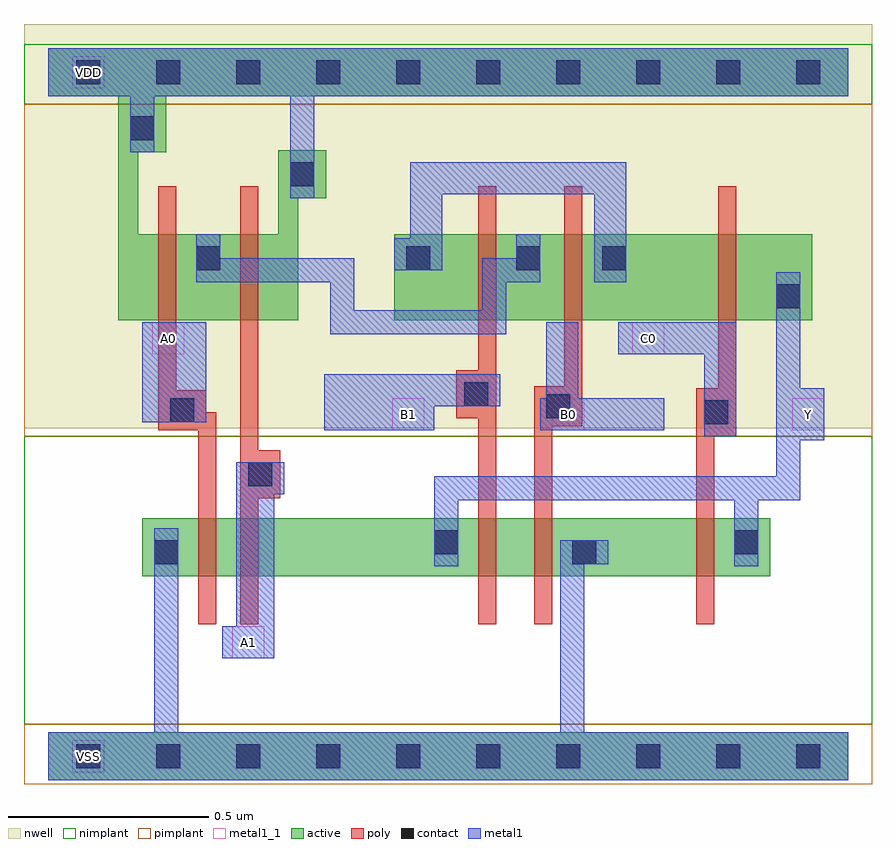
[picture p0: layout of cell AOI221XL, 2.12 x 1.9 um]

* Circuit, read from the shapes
.subckt AOI221XL A0 A1 B0 B1 C0 VDD VSS Y
M1 n1 A0 VSS VSS nfet w=0.145u l=0.045u
M2 Y A1 n1 VSS nfet w=0.145u l=0.045u
M3 n2 B1 Y VSS nfet w=0.145u l=0.045u
M4 VSS B0 n2 VSS nfet w=0.145u l=0.045u
M5 Y C0 VSS VSS nfet w=0.145u l=0.045u
M6 n3 A0 VDD VDD pfet w=0.215u l=0.045u
M7 VDD A1 n3 VDD pfet w=0.215u l=0.045u
M8 n3 B1 n4 VDD pfet w=0.215u l=0.045u
M9 n4 B0 n3 VDD pfet w=0.215u l=0.045u
M10 Y C0 n4 VDD pfet w=0.215u l=0.045u
.ends

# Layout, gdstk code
import gdstk
lib = gdstk.Library(unit=1e-6, precision=5e-10)
def R(c, l, rs):  # rectangles x0, y0, x1, y1
    for r in rs: c.add(gdstk.rectangle(r[:2], r[2:], *l))
def A(c, l, x, y, w, h, nx, ny, dx, dy):  # array of equal rectangles
    R(c, l, [(x+i*dx, y+j*dy, x+i*dx+w, y+j*dy+h) for i in range(nx) for j in range(ny)])
def P(c, l, *ps):  # polygons
    for p in ps: c.add(gdstk.Polygon(p, *l))
active = (1, 0)
nwell = (2, 0)
poly = (3, 0)
nimplant = (4, 0)
pimplant = (5, 0)
contact = (6, 0)
metal1 = (7, 0)
metal1_1 = (7, 1)

aoi221xl = lib.new_cell('AOI221XL')
R(aoi221xl, active, [(0,-0.06,2,0.06), (0.235,0.45,1.805,0.595), (0.865,1.09,1.91,1.305)])
P(aoi221xl, active, [(0,1.77),(2,1.77),(2,1.65),(0.295,1.65),(0.295,1.51),(0.225,1.51),(0.225,1.305),(0.575,1.305),(0.575,1.515),(0.695,1.515),(0.695,1.395),(0.625,1.395),(0.625,1.09),(0.175,1.09),(0.175,1.65),(0,1.65)])
R(aoi221xl, nwell, [(-0.06,0.82,2.06,1.83)])
P(aoi221xl, poly, [(0.275,1.425),(0.32,1.425),(0.32,0.915),(0.395,0.915),(0.395,0.86),(0.42,0.86),(0.42,0.33),(0.375,0.33),(0.375,0.815),(0.275,0.815)],
  [(0.48,1.425),(0.525,1.425),(0.525,0.765),(0.58,0.765),(0.58,0.645),(0.525,0.645),(0.525,0.33),(0.48,0.33)],
  [(1.075,1.425),(1.12,1.425),(1.12,0.33),(1.075,0.33),(1.075,0.845),(1.02,0.845),(1.02,0.965),(1.075,0.965)],
  [(1.29,1.425),(1.335,1.425),(1.335,0.825),(1.26,0.825),(1.26,0.33),(1.215,0.33),(1.215,0.925),(1.29,0.925)],
  [(1.675,1.425),(1.72,1.425),(1.72,0.8),(1.665,0.8),(1.665,0.33),(1.62,0.33),(1.62,0.92),(1.675,0.92)])
R(aoi221xl, nimplant, [(-0.06,0.08,2.06,0.8), (-0.06,1.63,2.06,1.78)])
R(aoi221xl, pimplant, [(-0.06,-0.07,2.06,0.08), (-0.06,0.8,2.06,1.63)])
A(aoi221xl, contact, 0.07, -0.03, 0.06, 0.06, 10, 2, 0.2, 1.71)
R(aoi221xl, contact, [(0.265,0.48,0.325,0.54), (1.31,0.48,1.37,0.54), (0.965,0.505,1.025,0.565), (1.715,0.505,1.775,0.565), (0.5,0.675,0.56,0.735), (1.64,0.83,1.7,0.89), (0.305,0.835,0.365,0.895), (1.245,0.845,1.305,0.905), (1.04,0.875,1.1,0.935), (1.82,1.12,1.88,1.18), (0.37,1.215,0.43,1.275), (0.895,1.215,0.955,1.275), (1.17,1.215,1.23,1.275), (1.385,1.215,1.445,1.275), (0.605,1.425,0.665,1.485), (0.205,1.54,0.265,1.6)])
R(aoi221xl, metal1, [(0.235,0.835,0.395,1.085)])
P(aoi221xl, metal1, [(0,1.77),(2,1.77),(2,1.65),(0.665,1.65),(0.665,1.395),(0.605,1.395),(0.605,1.65),(0.265,1.65),(0.265,1.51),(0.205,1.51),(0.205,1.65),(0,1.65)],
  [(0.37,1.305),(0.43,1.305),(0.43,1.245),(0.765,1.245),(0.765,1.115),(1.085,1.115),(1.085,1.245),(1.17,1.245),(1.17,1.305),(1.23,1.305),(1.23,1.185),(1.145,1.185),(1.145,1.055),(0.705,1.055),(0.705,1.185),(0.37,1.185)],
  [(0.905,1.485),(1.445,1.485),(1.445,1.185),(1.365,1.185),(1.365,1.405),(0.985,1.405),(0.985,1.215),(0.865,1.215),(0.865,1.295),(0.905,1.295)],
  [(1.82,1.21),(1.88,1.21),(1.88,0.92),(1.94,0.92),(1.94,0.79),(1.88,0.79),(1.88,0.64),(1.775,0.64),(1.775,0.475),(1.715,0.475),(1.715,0.64),(1.025,0.64),(1.025,0.475),(0.965,0.475),(0.965,0.7),(1.82,0.7)],
  [(1.425,1.085),(1.72,1.085),(1.72,0.8),(1.64,0.8),(1.64,1.005),(1.425,1.005)],
  [(1.245,1.085),(1.325,1.085),(1.325,0.895),(1.54,0.895),(1.54,0.815),(1.23,0.815),(1.23,0.895),(1.245,0.895)],
  [(0.69,0.955),(1.13,0.955),(1.13,0.875),(0.965,0.875),(0.965,0.815),(0.69,0.815)],
  [(0.47,0.735),(0.59,0.735),(0.59,0.655),(0.565,0.655),(0.565,0.245),(0.435,0.245),(0.435,0.325),(0.47,0.325)],
  [(0.265,0.57),(0.325,0.57),(0.325,0.06),(1.28,0.06),(1.28,0.54),(1.4,0.54),(1.4,0.48),(1.34,0.48),(1.34,0.06),(2,0.06),(2,-0.06),(0,-0.06),(0,0.06),(0.265,0.06)])
R(aoi221xl, metal1_1, [(0.06,-0.04,0.14,0.04), (0.46,0.245,0.54,0.325), (0.86,0.815,0.94,0.895), (1.26,0.815,1.34,0.895), (1.86,0.815,1.94,0.895), (0.26,1.005,0.34,1.085), (1.46,1.005,1.54,1.085), (0.06,1.67,0.14,1.75)])
aoi221xl.add(gdstk.Label('Y', (1.9,0.855), layer=7, texttype=1))
aoi221xl.add(gdstk.Label('B1', (0.9,0.855), layer=7, texttype=1))
aoi221xl.add(gdstk.Label('B0', (1.3,0.855), layer=7, texttype=1))
aoi221xl.add(gdstk.Label('A0', (0.3,1.045), layer=7, texttype=1))
aoi221xl.add(gdstk.Label('C0', (1.5,1.045), layer=7, texttype=1))
aoi221xl.add(gdstk.Label('A1', (0.5,0.285), layer=7, texttype=1))
aoi221xl.add(gdstk.Label('VDD', (0.1,1.71), layer=7, texttype=1))
aoi221xl.add(gdstk.Label('VSS', (0.1,0), layer=7, texttype=1))
aoi221xl.add(gdstk.Label('AOI221XL', (0,0), layer=63, texttype=0))

lib.write_gds('AOI221XL.gds')
